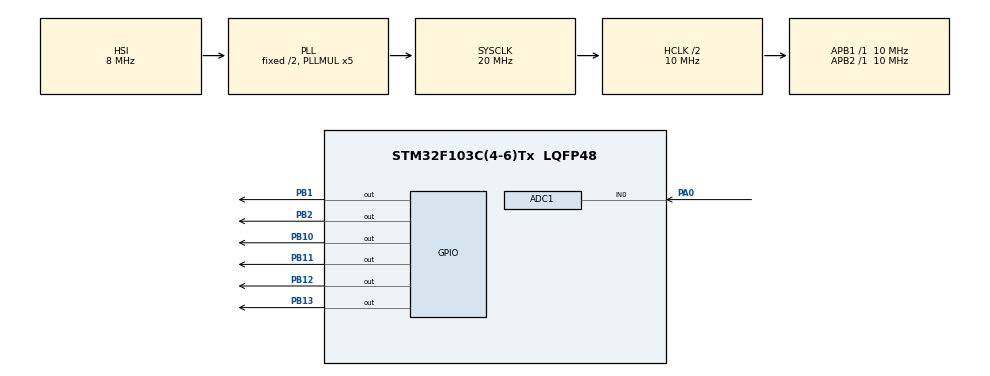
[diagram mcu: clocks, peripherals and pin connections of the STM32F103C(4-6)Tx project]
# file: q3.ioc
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ADC1.Channel-0\#ChannelRegularConversion=ADC_CHANNEL_0
ADC1.NbrOfConversionFlag=1
ADC1.Rank-0\#ChannelRegularConversion=1
ADC1.SamplingTime-0\#ChannelRegularConversion=ADC_SAMPLETIME_1CYCLE_5
ADC1.master=1
Mcu.Family=STM32F1
Mcu.Name=STM32F103C(4-6)Tx
Mcu.Package=LQFP48
NVIC.PriorityGroup=NVIC_PRIORITYGROUP_4
PA0-WKUP.Signal=ADCx_IN0
PB1.Signal=GPIO_Output
PB10.Signal=GPIO_Output
PB11.Signal=GPIO_Output
PB12.Signal=GPIO_Output
PB13.Signal=GPIO_Output
PB2.Signal=GPIO_Output
ProjectManager.HeapSize=0x200
ProjectManager.StackSize=0x400
ProjectManager.TargetToolchain=STM32CubeIDE
RCC.AHBCLKDivider=RCC_SYSCLK_DIV2
RCC.AHBFreq_Value=10000000
RCC.APB1Freq_Value=10000000
RCC.APB1TimFreq_Value=10000000
RCC.APB2Freq_Value=10000000
RCC.APB2TimFreq_Value=10000000
RCC.HCLKFreq_Value=10000000
RCC.PLLMUL=RCC_PLL_MUL5
RCC.SYSCLKFreq_VALUE=20000000
RCC.SYSCLKSource=RCC_SYSCLKSOURCE_PLLCLK
RCC.USBFreq_Value=20000000
SH.ADCx_IN0.0=ADC1_IN0,IN0
VP_SYS_VS_ND.Mode=No_Debug
board=custom

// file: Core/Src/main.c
/* USER CODE BEGIN Header */
/* USER CODE END Header */
#include "main.h"
#include "codenic_lcd.h"
#include <stdio.h>
extern ADC_HandleTypeDef hadc1;

/* USER CODE BEGIN Includes */
extern ADC_HandleTypeDef hadc1;

/* USER CODE END Includes */

/* USER CODE BEGIN PD */
char buffer[20];
uint32_t adc_value;

float temperature;

/* USER CODE END PD */

ADC_HandleTypeDef hadc1;

void SystemClock_Config(void);
static void MX_GPIO_Init(void);
static void MX_ADC1_Init(void);

int main(void)
{

  /* MCU Configuration--------------------------------------------------------*/

  /* Reset of all peripherals, Initializes the Flash interface and the Systick. */
  HAL_Init();

  /* Configure the system clock */
  SystemClock_Config();

  /* Initialize all configured peripherals */
  MX_GPIO_Init();
  MX_ADC1_Init();
  /* USER CODE BEGIN 2 */
  LCD_Init();
  LCD_SetCursor(0, 0);
  /* USER CODE END 2 */

  /* Infinite loop */
  /* USER CODE BEGIN WHILE */
  while (1)
      {

	          HAL_ADC_Start(&hadc1);
	          HAL_ADC_PollForConversion(&hadc1, 1000);
	          adc_value = HAL_ADC_GetValue(&hadc1);
	          HAL_ADC_Stop(&hadc1);

	          LCD_SetCursor(0, 0);
	          LCD_PrintFloat(adc_value,0);

	          temperature = -0.01617 * adc_value + 53.63 ;
	         LCD_SetCursor(0, 1);
	         LCD_PrintFloat(temperature,2);

	          HAL_Delay(100);
      }
    /* USER CODE END WHILE */

}

void SystemClock_Config(void)
{
  RCC_OscInitTypeDef RCC_OscInitStruct = {0};
  RCC_ClkInitTypeDef RCC_ClkInitStruct = {0};
  RCC_PeriphCLKInitTypeDef PeriphClkInit = {0};

  /** Initializes the RCC Oscillators according to the specified parameters
  * in the RCC_OscInitTypeDef structure.
  */
  RCC_OscInitStruct.OscillatorType = RCC_OSCILLATORTYPE_HSI;
  RCC_OscInitStruct.HSIState = RCC_HSI_ON;
  RCC_OscInitStruct.HSICalibrationValue = RCC_HSICALIBRATION_DEFAULT;
  RCC_OscInitStruct.PLL.PLLState = RCC_PLL_ON;
  RCC_OscInitStruct.PLL.PLLSource = RCC_PLLSOURCE_HSI_DIV2;
  RCC_OscInitStruct.PLL.PLLMUL = RCC_PLL_MUL5;
  if (HAL_RCC_OscConfig(&RCC_OscInitStruct) != HAL_OK)
  {
    Error_Handler();
  }

  /** Initializes the CPU, AHB and APB buses clocks
  */
  RCC_ClkInitStruct.ClockType = RCC_CLOCKTYPE_HCLK|RCC_CLOCKTYPE_SYSCLK
                              |RCC_CLOCKTYPE_PCLK1|RCC_CLOCKTYPE_PCLK2;
  RCC_ClkInitStruct.SYSCLKSource = RCC_SYSCLKSOURCE_PLLCLK;
  RCC_ClkInitStruct.AHBCLKDivider = RCC_SYSCLK_DIV2;
  RCC_ClkInitStruct.APB1CLKDivider = RCC_HCLK_DIV1;
  RCC_ClkInitStruct.APB2CLKDivider = RCC_HCLK_DIV1;

  if (HAL_RCC_ClockConfig(&RCC_ClkInitStruct, FLASH_LATENCY_0) != HAL_OK)
  {
    Error_Handler();
  }
  PeriphClkInit.PeriphClockSelection = RCC_PERIPHCLK_ADC;
  PeriphClkInit.AdcClockSelection = RCC_ADCPCLK2_DIV2;
  if (HAL_RCCEx_PeriphCLKConfig(&PeriphClkInit) != HAL_OK)
  {
    Error_Handler();
  }
}

static void MX_ADC1_Init(void)
{

  ADC_ChannelConfTypeDef sConfig = {0};

  /** Common config
  */
  hadc1.Instance = ADC1;
  hadc1.Init.ScanConvMode = ADC_SCAN_DISABLE;
  hadc1.Init.ContinuousConvMode = ENABLE;
  hadc1.Init.DiscontinuousConvMode = DISABLE;
  hadc1.Init.ExternalTrigConv = ADC_SOFTWARE_START;
  hadc1.Init.DataAlign = ADC_DATAALIGN_RIGHT;
  hadc1.Init.NbrOfConversion = 1;
  if (HAL_ADC_Init(&hadc1) != HAL_OK)
  {
    Error_Handler();
  }

  /** Configure Regular Channel
  */
  sConfig.Channel = ADC_CHANNEL_0;
  sConfig.Rank = ADC_REGULAR_RANK_1;
  sConfig.SamplingTime = ADC_SAMPLETIME_1CYCLE_5;
  if (HAL_ADC_ConfigChannel(&hadc1, &sConfig) != HAL_OK)
  {
    Error_Handler();
  }

}

static void MX_GPIO_Init(void)
{
  GPIO_InitTypeDef GPIO_InitStruct = {0};

  /* GPIO Ports Clock Enable */
  __HAL_RCC_GPIOA_CLK_ENABLE();
  __HAL_RCC_GPIOB_CLK_ENABLE();

  /*Configure GPIO pin Output Level */
  HAL_GPIO_WritePin(GPIOB, GPIO_PIN_1|GPIO_PIN_2|GPIO_PIN_10|GPIO_PIN_11
                          |GPIO_PIN_12|GPIO_PIN_13, GPIO_PIN_RESET);

  /*Configure GPIO pins : PB1 PB2 PB10 PB11
                           PB12 PB13 */

  GPIO_InitStruct.Pin = GPIO_PIN_1|GPIO_PIN_2|GPIO_PIN_10|GPIO_PIN_11|GPIO_PIN_12|GPIO_PIN_13;
  GPIO_InitStruct.Mode = GPIO_MODE_OUTPUT_PP;
  GPIO_InitStruct.Pull = GPIO_NOPULL;
  GPIO_InitStruct.Speed = GPIO_SPEED_FREQ_LOW;
  HAL_GPIO_Init(GPIOB, &GPIO_InitStruct);

}

void Error_Handler(void)
{
}
